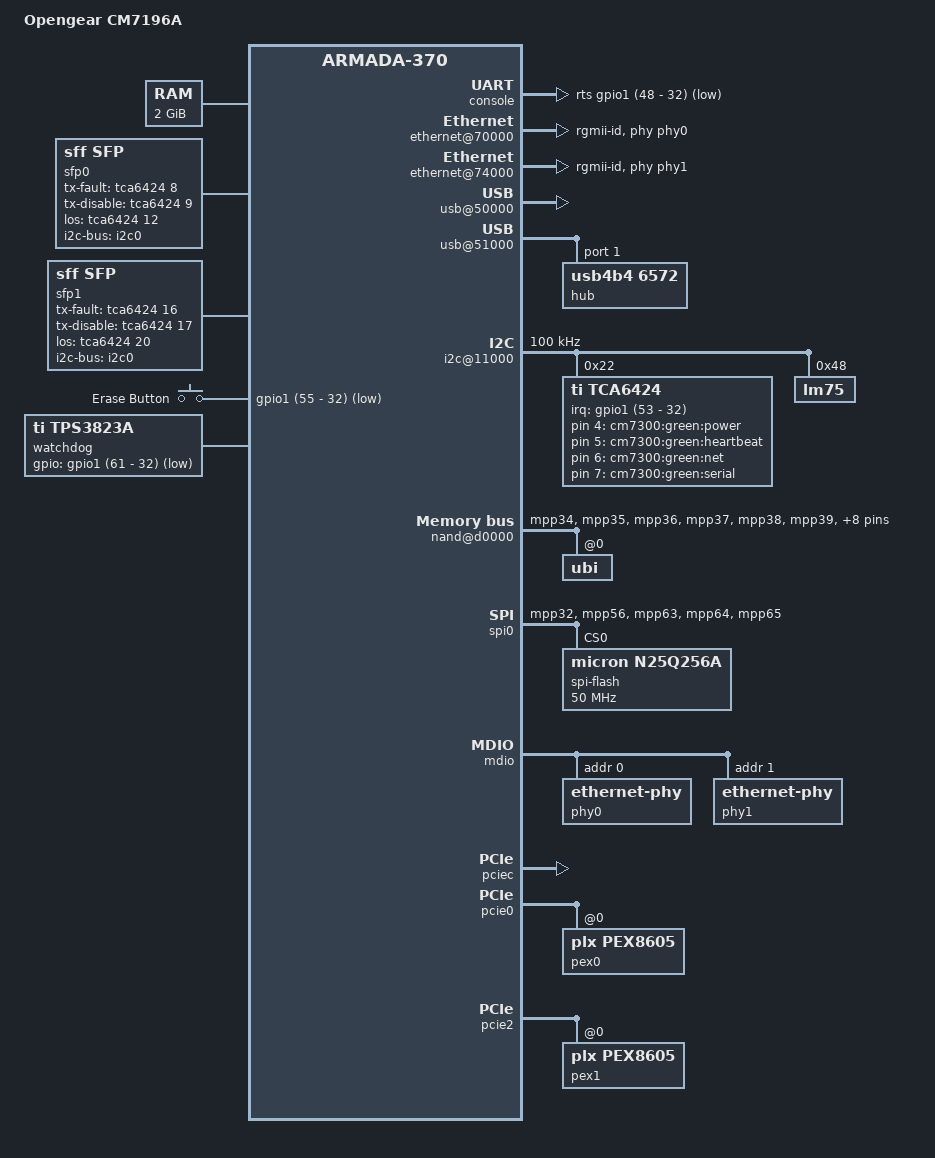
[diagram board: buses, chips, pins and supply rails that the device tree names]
/*
 * Device Tree file for Opengear CM7300 309056_v01 (aka CM7196A)
 *
 * Note: prototype 309056_v00 (aka CM7196) had less RAM (256 MB)
 * and smaller USB flash storage (16 GB).
 *
 * David Leonard, Opengear 2016
 */

/dts-v1/;

#include <dt-bindings/gpio/gpio.h>
#include <dt-bindings/input/input.h>

#include "armada-370.dtsi"

/ {
	model = "Opengear CM7196A";
	compatible = "opengear,cm7196a",
		     "opengear,cm7300",
		     "marvell,armada370",
		     "marvell,armada-370-xp";

	aliases {
		pciserial0 = &pciserial0;
	};

	chosen {
		// stdout-path = "pciserial0:115200";
		stdout-path = "uart0:115200";
	};

	memory {
		device_type = "memory";
		reg = <0x00000000 0x80000000>; /* 2 GB */
	};

	soc {
		ranges = <MBUS_ID(0xf0, 0x01) 0 0xd0000000 0x100000
			  MBUS_ID(0x01, 0xe0) 0 0xfff00000 0x100000>;
		internal-regs {
			console: serial@12000 {			/* console port */
				serial = <96>;		/* UART0 at ttyS96 */
				clock-frequency = <200000000>;
				status = "okay";

				rts-gpios = <&gpio1 (48 - 32) GPIO_ACTIVE_LOW>;
				dtr-gpios = <&gpio1 (49 - 32) GPIO_ACTIVE_LOW>;
				cts-gpios = <&gpio1 (50 - 32) GPIO_ACTIVE_LOW>;
				dcd-gpios = <&gpio1 (51 - 32) GPIO_ACTIVE_LOW>;
			};

			timer@20300 {
				clock-frequency = <600000000>;
				status = "okay";
			};

			mdio {
				pinctrl-0 = <&mdio_pins>;
				pinctrl-names = "default";
			};

			ethernet@70000 {
				pinctrl-0 = <&ge0_rgmii_pins>;
				pinctrl-names = "default";
				status = "okay";
				phy = <&phy0>;
				phy-mode = "rgmii-id";
			};
			ethernet@74000 {
				pinctrl-0 = <&ge1_rgmii_pins>;
				pinctrl-names = "default";
				status = "okay";
				phy = <&phy1>;
				phy-mode = "rgmii-id";
			};

			usb@50000 {
				status = "okay";
			};

			usb@51000 {
				status = "okay";
				#address-cells = <1>;
				#size-cells = <0>;
				hub@1 {
					compatible = "usb4b4,6572";
					reg = <1>;
					/* 64GB PHISON USB flash module at port 4 */
				};
			};

			i2c@11000 {
				status = "okay";
				clock-frequency = <100000>;

				tca6424: gpio@22 {
					compatible = "ti,tca6424";
					gpio-controller;
					#gpio-cells = <2>;
					reg = <0x22>;

					pinctrl-0 = <&io_x_int_pin>;
					pinctrl-names = "default";
					interrupt-parent = <&gpio1>;
					interrupts = <(53 - 32) GPIO_ACTIVE_LOW>;
				};

				lm75@48 {
					compatible = "lm75";
					reg = <0x48>;
				};

				/* PCIe switches have I2C interfaces */
				// switch@5e { interrupts=<&gpio1 (58-32)>; }; // &pex0
				// switch@5f { interrupts=<&gpio1 (57-32)>; }; // &pex1
			};

			nand@d0000 {
				status = "okay";
				pinctrl-0 = <&nand_pins>;
				pinctrl-names = "default";
				interrupts = <113>;
				#address-cells = <1>;
				#size-cells = <1>;

				/*
				num-cs = <1>;
				marvell,nand-keep-config;
				marvell,nand-enable-arbiter;
				nand-on-flash-bbt;
				wp-gpios = <&tca6424 0 GPIO_ACTIVE_LOW>;
				*/

				ubi@0 {
					label = "ubi";
					reg = <0x00000000 0xffe00000>;
				};
			};
		};

	};

	sfp0 {
		compatible = "sff,sfp";
		i2c-bus = <&i2c0>;
		sfp,ethernet = <&eth0>;
		tx-fault-gpio = <&tca6424 8 GPIO_ACTIVE_HIGH>;
		tx-disable-gpio = <&tca6424 9 GPIO_ACTIVE_HIGH>;
		//mod-pres-gpio = <&tca6424 10 GPIO_ACTIVE_HIGH>;
		//rate-sel-gpio = <&tca6424 11 GPIO_ACTIVE_HIGH>;
		los-gpio = <&tca6424 12 GPIO_ACTIVE_HIGH>;
		//ready-gpio = <&tca6424 13 GPIO_ACTIVE_HIGH>;
	};

	sfp1 {
		compatible = "sff,sfp";
		i2c-bus = <&i2c0>;
		sfp,ethernet = <&eth1>;
		tx-fault-gpio = <&tca6424 16 GPIO_ACTIVE_HIGH>;
		tx-disable-gpio = <&tca6424 17 GPIO_ACTIVE_HIGH>;
		//mod-pres-gpio = <&tca6424 18 GPIO_ACTIVE_HIGH>;
		//rate-sel-gpio = <&tca6424 19 GPIO_ACTIVE_HIGH>;
		los-gpio = <&tca6424 20 GPIO_ACTIVE_HIGH>;
		//ready-gpio = <&tca6424 21 GPIO_ACTIVE_HIGH>;
	};

	gpio_keys {
		compatible = "gpio-keys";
		#address-cells = <1>;
		#size-cells = <0>;
		pinctrl-0 = <&erase_button_pin>;
		pinctrl-names = "default";
		button@0 {
			reg = <0>;
			label = "Erase Button";
			linux,code = <KEY_DELETE>; /* was KEY_103RD */
			gpios = <&gpio1 (55 - 32) GPIO_ACTIVE_LOW>;
		};
	};

	gpio_leds {
		compatible = "gpio-leds";

		green_power_led { /* pwr_led */
			label = "cm7300:green:power";
			gpios = <&tca6424 4 GPIO_ACTIVE_HIGH>;
			default-state = "on";
		};

		green_hb_led { /* hrtbt_led */
			label = "cm7300:green:heartbeat";
			gpios = <&tca6424 5 GPIO_ACTIVE_HIGH>;
			linux,default-trigger = "heartbeat";
		};

		green_net_led { /* net_led */
			label = "cm7300:green:net";
			gpios = <&tca6424 6 GPIO_ACTIVE_HIGH>;
			linux,default-trigger = "net";
		};

		green_serial_led { /* serial_led */
			label = "cm7300:green:serial";
			gpios = <&tca6424 7 GPIO_ACTIVE_HIGH>;
			linux,default-trigger = "serial";
		};
	};

	watchdog {
		pinctrl-0 = <&wdt_tickle_pin>;
		pinctrl-names = "default";
		compatible = "ti,tps3823a", "linux,wdt-gpio";
		gpios = <&gpio1 (61 - 32) GPIO_ACTIVE_LOW>;
		hw_algo = "toggle";
		hw_margin_ms = <500>;
		always-running;
	};

};

&pinctrl {

	spi0_pins: spi0-pins {
		marvell,pins = "mpp32",	/* cs0 */
			       "mpp56", /* cs3 */
			       "mpp63", /* sclk */
			       "mpp64", /* miso */
			       "mpp65"; /* mosi */
		marvell,function = "spi0";
	};

	nand_pins: nand-pins {
		marvell,pins = "mpp34", /* dev_we0 */
			       "mpp35", /* dev_oe */
			       "mpp36", /* dev_a1 */
			       "mpp37", /* dev_a0 */
			       "mpp38", /* dev_ready */
			       "mpp39", /* dev_ad0 */
			       "mpp40", /* dev_ad1 */
			       "mpp41", /* dev_ad2 */
			       "mpp42", /* dev_ad3 */
			       "mpp43", /* dev_ad4 */
			       "mpp44", /* dev_ad5 */
			       "mpp45", /* dev_ad6 */
			       "mpp46", /* dev_ad7 */
			       /* "mpp47", dev_ad8 */
			       "mpp33";	/* devboot_cs */
		marvell,function = "dev";
	};

	erase_button_pin: erase-button-pin {
		marvell,pins = "mpp55"; /* pushbutton */
		marvell,function = "gpio";
	};

	console_232en_pin: console-232en-pin {
		marvell,pins = "mpp62";	/* console_232_en, active-high out */
		/* should be asseted by the operating system
		 * if the console is secure */
	};

	console_modem_pins: console-modem-pins {
		marvell,pins = "mpp48",	/* console_rts */
			       "mpp49",	/* console_dtr */
			       "mpp50",	/* console_cts */
			       "mpp51";	/* console_dcd */
		marvell,function = "gpio";
	};

	reset_3v3_pin: reset-3v3-pin {
		marvell,pins = "mpp52"; /* gpio_reset_3v3 */
		marvell,function = "gpio";
	};

	wdt_tickle_pin: wdt-tickle-pin {
		marvell,pins = "mpp61"; /* wd_tickle */
		marvell,function = "gpo";
	};
	wdt_en_pin: wdt-en-pin {
		marvell,pins = "mpp60"; /* wd_en */
		marvell,function = "gpio";
	};
	io_x_int_pin: io-x-int-pin {
		marvell,pins = "mpp53"; /* io_x_int# */
		marvell,function = "gpio";
	};

};

&spi0 {
	status = "okay";
	pinctrl-0 = <&spi0_pins>;
	pinctrl-names = "default";
	spi-flash@0 {
		#address-cells = <1>;
		#size-cells = <1>;
		compatible = "micron,n25q256a", "jedec,spi-nor";
		reg = <0>; /* Chip select 0 */
		spi-max-frequency = <50000000>;
		u-boot@0 {
			label = "u-boot";
			reg = <0x00000000 0x00100000>;
		};

		u-boot-config-block@100000 {
			label = "u-boot config block";
			reg = <0x00100000 0x00020000>;
		};

		factory-img@120000 {
			label = "factory_img";
			reg = <0x00120000 0x1400000>;
		};

		system-log@1520000 {
			label = "system_log";
			reg = <0x1520000 0x00200000>;
		};

		mtd-oops@1720000 {
			label = "mtd-oops";
			reg = <0x1720000 0x00080000>;
		};

		reserved@17A0000 {
			label = "reserved";
			reg = <0x17A0000 0x860000>;
		};
		all-spi@0 {
			label = "all-spi";
			reg = <0x0 0x2000000>;
		};
	};
};

&spi1 {
	status = "disabled";
};

&mdio {
	phy0: ethernet-phy@0 {
		reg = <0>;
		/* auto-select SFP/copper; prefer SFP */
		marvell,reg-init = <18 20 0xffff 0x0226>;
	};

	phy1: ethernet-phy@1 {
		reg = <1>;
		/* auto-select SFP/copper; prefer SFP */
		marvell,reg-init = <18 20 0xffff 0x0226>;
	};
};

&pciec {
	status = "okay";
};

&pcie0 { /* port 0, lane 0 */
	status = "okay";

	/*
	 * It's not strictly necessary to include the PCIe
	 * buses here, since they get probed. But it allows
	 * us to refer to pciserial0 as a boot console.
	 */
	pex0: switch@0,0 {
		compatible = "plx,pex8605";
		#address-cells = <3>;
		#size-cells = <2>;
		reg = <0x0000 0 0 0 0>;
		switch@0,1 {
			compatible = "plx,pex8605";
			#address-cells = <3>;
			#size-cells = <2>;
			reg = <0x0800 0 0 0 0>;
			serial@0 {
				compatible = "exar,xr17v358";
				reg = <0x0000 0 0 0 0>;
				#address-cells = <1>;
				#size-cells = <0>;
				serial = <0>; /* start at ttyS0 (ignored by 8250_pci) */
				pciserial0: port1@0 {
					reg = <0>;
				};
			};
		};
		switch@0,2 {
			compatible = "plx,pex8605";
			#address-cells = <3>;
			#size-cells = <2>;
			reg = <0x1000 0 0 0 0>;
			serial@16 {
				compatible = "exar,xr17v358";
				reg = <0x0000 0 0 0 0>;
			};
		};
		switch@0,3 {
			compatible = "plx,pex8605";
			#address-cells = <3>;
			#size-cells = <2>;
			reg = <0x1800 0 0 0 0>;
			serial@24 {
				compatible = "exar,xr17v358";
				reg = <0x0000 0 0 0 0>;
			};
		};
	};
};

&pcie2 { /* port 1, lane 0 */
	status = "okay";

	pex1: switch@1,0 {
		compatible = "plx,pex8605";
		#address-cells = <3>;
		#size-cells = <2>;
		reg = <0x0000 0 0 0 0>;
		switch@1,1 {
			compatible = "plx,pex8605";
			#address-cells = <3>;
			#size-cells = <2>;
			reg = <0x0800 0 0 0 0>;
			serial@48 {
				compatible = "exar,xr17v358";
				reg = <0x0000 0 0 0 0>;
			};
		};
		switch@1,2 {
			compatible = "plx,pex8605";
			#address-cells = <3>;
			#size-cells = <2>;
			reg = <0x1000 0 0 0 0>;
			serial@64 {
				compatible = "exar,xr17v358";
				reg = <0x0000 0 0 0 0>;
			};
		};
		switch@1,3 {
			compatible = "plx,pex8605";
			#address-cells = <3>;
			#size-cells = <2>;
			reg = <0x1800 0 0 0 0>;
			serial@80 {
				compatible = "exar,xr17v358";
				reg = <0x0000 0 0 0 0>;
			};
		};
	};
};

